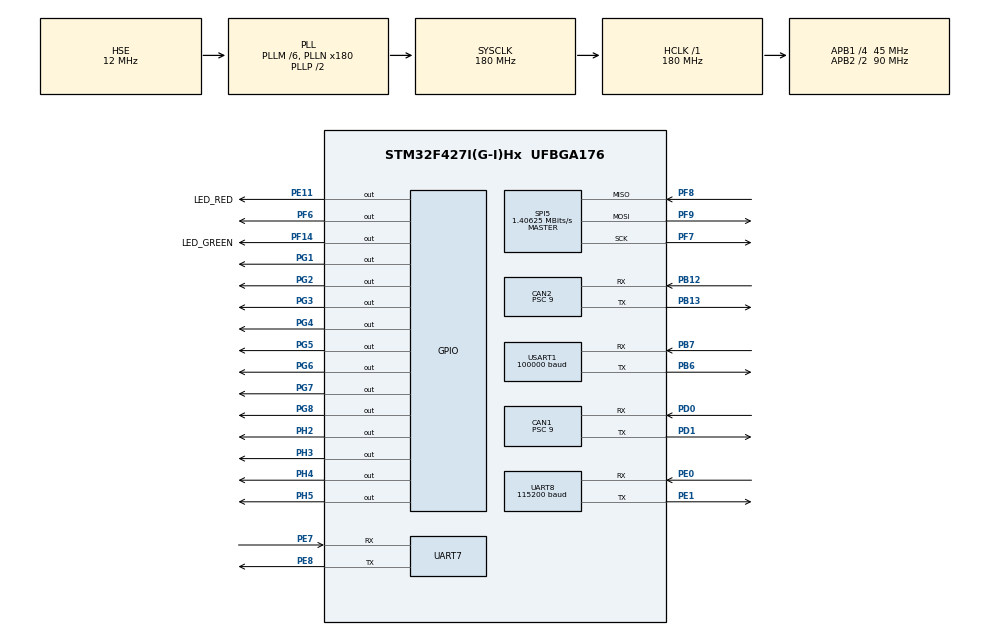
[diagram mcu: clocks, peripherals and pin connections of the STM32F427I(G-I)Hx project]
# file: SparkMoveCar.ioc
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CAN1.ABOM=ENABLE
CAN1.BS1=CAN_BS1_2TQ
CAN1.BS2=CAN_BS2_2TQ
CAN1.CalculateBaudRate=1000000
CAN1.CalculateTimeBit=1000
CAN1.CalculateTimeQuantum=200.0
CAN1.Mode=CAN_MODE_NORMAL
CAN1.NART=DISABLE
CAN1.Prescaler=9
CAN2.ABOM=ENABLE
CAN2.BS1=CAN_BS1_2TQ
CAN2.BS2=CAN_BS2_2TQ
CAN2.CalculateBaudRate=1000000
CAN2.CalculateTimeBit=1000
CAN2.CalculateTimeQuantum=200.0
CAN2.Prescaler=9
Dma.Request0=UART8_RX
Dma.Request1=UART8_TX
Dma.Request2=USART1_RX
Dma.Request3=USART1_TX
Dma.Request4=UART7_RX
Dma.Request5=UART7_TX
Dma.UART7_RX.4.Direction=DMA_PERIPH_TO_MEMORY
Dma.UART7_RX.4.FIFOMode=DMA_FIFOMODE_DISABLE
Dma.UART7_RX.4.Instance=DMA1_Stream3
Dma.UART7_RX.4.MemDataAlignment=DMA_MDATAALIGN_BYTE
Dma.UART7_RX.4.MemInc=DMA_MINC_ENABLE
Dma.UART7_RX.4.Mode=DMA_NORMAL
Dma.UART7_RX.4.PeriphDataAlignment=DMA_PDATAALIGN_BYTE
Dma.UART7_RX.4.PeriphInc=DMA_PINC_DISABLE
Dma.UART7_RX.4.Priority=DMA_PRIORITY_LOW
Dma.UART7_TX.5.Direction=DMA_MEMORY_TO_PERIPH
Dma.UART7_TX.5.FIFOMode=DMA_FIFOMODE_DISABLE
Dma.UART7_TX.5.Instance=DMA1_Stream1
Dma.UART7_TX.5.MemDataAlignment=DMA_MDATAALIGN_BYTE
Dma.UART7_TX.5.MemInc=DMA_MINC_ENABLE
Dma.UART7_TX.5.Mode=DMA_NORMAL
Dma.UART7_TX.5.PeriphDataAlignment=DMA_PDATAALIGN_BYTE
Dma.UART7_TX.5.PeriphInc=DMA_PINC_DISABLE
Dma.UART7_TX.5.Priority=DMA_PRIORITY_LOW
Dma.UART8_RX.0.Direction=DMA_PERIPH_TO_MEMORY
Dma.UART8_RX.0.FIFOMode=DMA_FIFOMODE_DISABLE
Dma.UART8_RX.0.Instance=DMA1_Stream6
Dma.UART8_RX.0.MemDataAlignment=DMA_MDATAALIGN_BYTE
Dma.UART8_RX.0.MemInc=DMA_MINC_ENABLE
Dma.UART8_RX.0.Mode=DMA_NORMAL
Dma.UART8_RX.0.PeriphDataAlignment=DMA_PDATAALIGN_BYTE
Dma.UART8_RX.0.PeriphInc=DMA_PINC_DISABLE
Dma.UART8_RX.0.Priority=DMA_PRIORITY_LOW
Dma.UART8_TX.1.Direction=DMA_MEMORY_TO_PERIPH
Dma.UART8_TX.1.FIFOMode=DMA_FIFOMODE_DISABLE
Dma.UART8_TX.1.Instance=DMA1_Stream0
Dma.UART8_TX.1.MemDataAlignment=DMA_MDATAALIGN_BYTE
Dma.UART8_TX.1.MemInc=DMA_MINC_ENABLE
Dma.UART8_TX.1.Mode=DMA_NORMAL
Dma.UART8_TX.1.PeriphDataAlignment=DMA_PDATAALIGN_BYTE
Dma.UART8_TX.1.PeriphInc=DMA_PINC_DISABLE
Dma.UART8_TX.1.Priority=DMA_PRIORITY_LOW
Dma.USART1_RX.2.Direction=DMA_PERIPH_TO_MEMORY
Dma.USART1_RX.2.FIFOMode=DMA_FIFOMODE_DISABLE
Dma.USART1_RX.2.Instance=DMA2_Stream2
Dma.USART1_RX.2.MemDataAlignment=DMA_MDATAALIGN_BYTE
Dma.USART1_RX.2.MemInc=DMA_MINC_ENABLE
Dma.USART1_RX.2.Mode=DMA_CIRCULAR
Dma.USART1_RX.2.PeriphDataAlignment=DMA_PDATAALIGN_BYTE
Dma.USART1_RX.2.PeriphInc=DMA_PINC_DISABLE
Dma.USART1_RX.2.Priority=DMA_PRIORITY_LOW
Dma.USART1_TX.3.Direction=DMA_MEMORY_TO_PERIPH
Dma.USART1_TX.3.FIFOMode=DMA_FIFOMODE_DISABLE
Dma.USART1_TX.3.Instance=DMA2_Stream7
Dma.USART1_TX.3.MemDataAlignment=DMA_MDATAALIGN_BYTE
Dma.USART1_TX.3.MemInc=DMA_MINC_ENABLE
Dma.USART1_TX.3.Mode=DMA_NORMAL
Dma.USART1_TX.3.PeriphDataAlignment=DMA_PDATAALIGN_BYTE
Dma.USART1_TX.3.PeriphInc=DMA_PINC_DISABLE
Dma.USART1_TX.3.Priority=DMA_PRIORITY_LOW
Mcu.Family=STM32F4
Mcu.Name=STM32F427I(G-I)Hx
Mcu.Package=UFBGA176
NVIC.CAN1_RX0_IRQn=true\:0\:0\:false\:false\:true\:false\:true\:true\:true
NVIC.CAN1_RX1_IRQn=true\:0\:0\:false\:false\:true\:false\:true\:true\:true
NVIC.CAN2_RX0_IRQn=true\:0\:0\:false\:false\:true\:false\:true\:true\:true
NVIC.CAN2_RX1_IRQn=true\:0\:0\:false\:false\:true\:false\:true\:true\:true
NVIC.DMA1_Stream0_IRQn=true\:0\:0\:false\:false\:true\:true\:false\:true\:true
NVIC.DMA1_Stream1_IRQn=true\:0\:0\:false\:false\:true\:true\:false\:true\:true
NVIC.DMA1_Stream3_IRQn=true\:0\:0\:false\:false\:true\:true\:false\:true\:true
NVIC.DMA1_Stream6_IRQn=true\:0\:0\:false\:false\:true\:true\:false\:true\:true
NVIC.DMA2_Stream2_IRQn=true\:0\:0\:false\:false\:true\:true\:false\:true\:true
NVIC.DMA2_Stream7_IRQn=true\:0\:0\:false\:false\:true\:true\:false\:true\:true
NVIC.PriorityGroup=NVIC_PRIORITYGROUP_4
NVIC.TIM1_UP_TIM10_IRQn=true\:15\:0\:false\:false\:true\:false\:false\:true\:true
NVIC.TimeBase=TIM1_UP_TIM10_IRQn
NVIC.TimeBaseIP=TIM1
NVIC.UART7_IRQn=true\:0\:0\:false\:false\:true\:false\:true\:true\:true
NVIC.UART8_IRQn=true\:0\:0\:false\:false\:true\:false\:true\:true\:true
NVIC.USART1_IRQn=true\:0\:0\:false\:false\:true\:false\:true\:true\:true
PA13.Mode=Serial_Wire
PA13.Signal=SYS_JTMS-SWDIO
PA14.Mode=Serial_Wire
PA14.Signal=SYS_JTCK-SWCLK
PB12.Mode=CAN_Activate
PB12.Signal=CAN2_RX
PB13.Mode=CAN_Activate
PB13.Signal=CAN2_TX
PB6.Mode=Asynchronous
PB6.Signal=USART1_TX
PB7.Mode=Asynchronous
PB7.Signal=USART1_RX
PD0.GPIO_PuPd=GPIO_NOPULL
PD0.Mode=CAN_Activate
PD0.Signal=CAN1_RX
PD1.Mode=CAN_Activate
PD1.Signal=CAN1_TX
PE0.Mode=Asynchronous
PE0.Signal=UART8_RX
PE1.Mode=Asynchronous
PE1.Signal=UART8_TX
PE11.GPIO_Label=LED_RED
PE11.PinState=GPIO_PIN_SET
PE11.Signal=GPIO_Output
PE7.Mode=Asynchronous
PE7.Signal=UART7_RX
PE8.Mode=Asynchronous
PE8.Signal=UART7_TX
PF14.GPIO_Label=LED_GREEN
PF14.PinState=GPIO_PIN_SET
PF14.Signal=GPIO_Output
PF6.Signal=GPIO_Output
PF7.Mode=Full_Duplex_Master
PF7.Signal=SPI5_SCK
PF8.Mode=Full_Duplex_Master
PF8.Signal=SPI5_MISO
PF9.Mode=Full_Duplex_Master
PF9.Signal=SPI5_MOSI
PG1.PinState=GPIO_PIN_SET
PG1.Signal=GPIO_Output
PG2.PinState=GPIO_PIN_SET
PG2.Signal=GPIO_Output
PG3.PinState=GPIO_PIN_SET
PG3.Signal=GPIO_Output
PG4.PinState=GPIO_PIN_SET
PG4.Signal=GPIO_Output
PG5.PinState=GPIO_PIN_SET
PG5.Signal=GPIO_Output
PG6.PinState=GPIO_PIN_SET
PG6.Signal=GPIO_Output
PG7.PinState=GPIO_PIN_SET
PG7.Signal=GPIO_Output
PG8.PinState=GPIO_PIN_SET
PG8.Signal=GPIO_Output
PH0/OSC_IN.Mode=HSE-External-Oscillator
PH0/OSC_IN.Signal=RCC_OSC_IN
PH1/OSC_OUT.Mode=HSE-External-Oscillator
PH1/OSC_OUT.Signal=RCC_OSC_OUT
PH2.GPIO_PuPd=GPIO_PULLUP
PH2.Signal=GPIO_Output
PH3.GPIO_PuPd=GPIO_PULLUP
PH3.Signal=GPIO_Output
PH4.GPIO_PuPd=GPIO_PULLUP
PH4.Signal=GPIO_Output
PH5.GPIO_PuPd=GPIO_PULLUP
PH5.Signal=GPIO_Output
ProjectManager.HeapSize=0x200
ProjectManager.StackSize=0x400
ProjectManager.TargetToolchain=CMake
RCC.48MHZClocksFreq_Value=90000000
RCC.AHBFreq_Value=180000000
RCC.APB1CLKDivider=RCC_HCLK_DIV4
RCC.APB1Freq_Value=45000000
RCC.APB1TimFreq_Value=90000000
RCC.APB2CLKDivider=RCC_HCLK_DIV2
RCC.APB2Freq_Value=90000000
RCC.APB2TimFreq_Value=180000000
RCC.CortexFreq_Value=180000000
RCC.HCLKFreq_Value=180000000
RCC.HSE_VALUE=12000000
RCC.HSI_VALUE=16000000
RCC.LSE_VALUE=32768
RCC.PLLM=6
RCC.PLLN=180
RCC.PLLSourceVirtual=RCC_PLLSOURCE_HSE
RCC.SYSCLKFreq_VALUE=180000000
RCC.SYSCLKSource=RCC_SYSCLKSOURCE_PLLCLK
RCC.VCOOutputFreq_Value=360000000
RealThread.RT-Thread.3.1.2.RTAaThreadCcRTOSJjdeviceOodrivers=true
RealThread.RT-Thread.3.1.2.RTAaThreadCcRTOSJjkernel=true
RealThread.RT-Thread.3.1.2.RTAaThreadCcRTOSJjshell=true
SPI5.BaudRatePrescaler=SPI_BAUDRATEPRESCALER_64
SPI5.CalculateBaudRate=1.40625 MBits/s
SPI5.Direction=SPI_DIRECTION_2LINES
SPI5.Mode=SPI_MODE_MASTER
SPI5.VirtualType=VM_MASTER
UART7.VirtualMode=Asynchronous
UART8.BaudRate=115200
UART8.VirtualMode=Asynchronous
USART1.BaudRate=100000
USART1.Parity=PARITY_EVEN
USART1.StopBits=STOPBITS_2
USART1.VirtualMode=VM_ASYNC
USART1.WordLength=WORDLENGTH_9B
VP_RealThread.RT-Thread_VS_RTOSJjRTAaThread_3.1.2.Mode=RTOSJjRTAaThread
VP_SYS_VS_tim1.Mode=TIM1
board=custom

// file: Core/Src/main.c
/* USER CODE BEGIN Header */
/**
  ******************************************************************************
  * @file           : main.c
  * @brief          : Main program body
  ******************************************************************************
  * @attention
  *
  * Copyright (c) 2026 STMicroelectronics.
  * All rights reserved.
  *
  * This software is licensed under terms that can be found in the LICENSE file
  * in the root directory of this software component.
  * If no LICENSE file comes with this software, it is provided AS-IS.
  *
  ******************************************************************************
  */
/* USER CODE END Header */
#include "main.h"
#include "can.h"
#include "dma.h"
#include "spi.h"
#include "stm32f4xx_hal.h"
#include "usart.h"
#include "gpio.h"

/* USER CODE BEGIN Includes */
#include <rtthread.h>
#include <stdint.h>
#include "fifo.h"
#include <string.h>
#include <math.h>
#include <stdio.h>

#include "usart.h"
#include "drv_can.h"
#include "drv_bsp.h"
#include "drv_uart.h"
#include "motor_dji.h"
#include "serial_plotter.h"
#include "pidcontroller.h"
#include "app_test.h"
#include "drv_math.h"
#include "dev_dm4310.h"
#include "drv_dm4310.h"
#include "drv_imu.h"
#include "QuaternionEKF.h"
#include "dev_dm_imu.h"
#include "dev_n630.h"
#include "bsp_sbus.h"
#include "chassis.h"
#include "uxrce_transport_uart.h"
#include "uxrce_app.h"
#include "chassis_control.h"
/* USER CODE END Includes */

/* USER CODE BEGIN PD */
#define RX_BUF_SIZE 2048
uint8_t USART8_Rx_buf[RX_BUF_SIZE];   // DMA Buff

#define TX_DMA_BUF_SIZE 2048
// static uint8_t tx_dma_buf[TX_DMA_BUF_SIZE];
static uint8_t uxrce_rx_dma_buf[2048];
static uint8_t debug_rx_dma_buf[2048];

/* USER CODE END PD */

/* USER CODE BEGIN PV */
fifo_s_t *uart_rx_fifo = NULL;
uint8_t rx_buffer[128];
float Now_Omega, Target_Omega = 350.0f * PI;
uint32_t Counter = 0;
uint8_t speed_state = 0;

// 实例化对象
SerialPlotter_t my_plotter;
Motor_t motor_ID1;
PID_t  pid_speed;     // 速度环
extern dm_motor_t motor[Motor_Max];
N630_Motor_t n630_motor[30] = {0};

int8_t gyro_map[3]  = {1, 2, 3};
int8_t accel_map[3] = {1, 2, 3};

// typedef union {
//     float f_data[4];      // 3个数据 + 1个包尾 = 4个float
//     uint8_t byte_data[16]; // 4 * 4 = 16 字节
// } VOFA_JustFloat_t;

// VOFA_JustFloat_t vofa_packet;
extern imu_t imu;
extern uint8_t sbus_dma_buf[25];
extern ChassisMotor_t ChassisMotor_Table[CHASSIS_MOTOR_COUNT];

// void VOFA_Init(void) {
//     vofa_packet.byte_data[48] = 0x00;
//     vofa_packet.byte_data[49] = 0x00;
//     vofa_packet.byte_data[50] = 0x80;
//     vofa_packet.byte_data[51] = 0x7F;
// }
/**
 * @brief 串口 DMA 循环绕回处理核心算法 (类的方法)
 * @param obj 串口管理对象指针
 * @param Size DMA 当前写到的位置 (HAL库传入)
 */
void UART8_Trigger_Tx_DMA(void)
{
//     App_Test_Trigger_UART_DMA(&huart8, uart_rx_fifo, tx_dma_buf, TX_DMA_BUF_SIZE);
 }

void Serialplot_Call_Back(uint8_t *Buffer, uint16_t Length)
{
     for (uint16_t i = 0; i < Length; i++) {
        SBUS_Receive(Buffer[i]);
    }

    SBUS_Handle();
}

void SerialDebug_Call_Back(uint8_t *Buffer, uint16_t Length)
{
   // ...
}

void Serialplot8_Call_Back(uint8_t *Buffer, uint16_t Length)
{
    // App_Test_Parse_Command(Buffer, Length);
}

 /* ---------------------------------------CAN Callback Configuration--------------------------------------------------------*/
/**
 * @brief  滤波器在CAN总线上获取到目标ID触发中断
 * @param  hcan CAN编号
 * @param  header  Rx接收头
 * @param  HAL_CAN_GetRxMessage HAL库内部函数-从FIFO中获取数据帧
 * @retval None
 */
void Motor_Cmd_TxCallback(Struct_CAN_Rx_Buffer *Rx_Buffer) {
  ChassisMotor_CANRxDispatch(Rx_Buffer);
}

void DMotor_Cmd_TxCallback(Struct_CAN_Rx_Buffer *Rx_Buffer) {
  // 解析 DM-J4310 的反馈
  ChassisMotor_CANRxDispatch(Rx_Buffer);
}

void UART8_Send_To_Plotter_DMA(uint8_t *data, uint16_t len) {
    // 调用 HAL 库的 DMA 发送函数
    // UART_Send_Data(&huart8, data, len);
}

/* USER CODE END PV */

void SystemClock_Config(void);

/* USER CODE BEGIN 0 */

// sbus解析线程
static void sbus_thread_entry(void *parameter)
{
    (void)parameter;

    while (1) {
        if (SBUS_HasNewFrame()) {
            ChassisControl_Update();
            SBUS_ClearNewFrame();
        }

        rt_thread_mdelay(5); // 200hz
    }
}
// CAN2 发送线程
static void can2_dm_thread_entry(void *parameter)
{
    (void)parameter;

    while (1) {
        ChassisMotor_SendDmSteerTarget();
        rt_thread_mdelay(10); // 100hz
    }
}

// motor control thread
static void motor_pid_thread_entry(void *parameter)
{
    (void)parameter;

    while (1) {
        ChassisMotor_ControlLoop_UpdateOnly();
        rt_thread_mdelay(10); // 100hz
    }
}

// can1 send thread
static void can1_vesc_thread_entry(void *parameter)
{
    (void)parameter;

    while (1) {
        ChassisMotor_SendCurrent_VESC();
        rt_thread_mdelay(10); // 100hz
    }
}

// dds communication thread
static void xrce_thread_entry(void *parameter)
{
    (void)parameter;

    uxrce_app_init();

    while (1) {
        uxrce_app_loop();
        rt_thread_mdelay(20); // 50hz
    }
}

 /* ---------------------------------------CAN Callback Configuration--------------------------------------------------------*/
/**
 * @brief  multi thread initialiation and startup
 * @param  rt_thread_create(const char *name,        // 线程名称 (调试和诊断时在终端里看到的名字)
                 void (*entry)(void *),   // 线程入口函数 (线程实际执行的 while(1) 代码块)
                 void *parameter,         // 传递给入口函数的参数 (这里全是 RT_NULL，即不传参)
                 rt_uint32_t stack_size,  // 线程栈大小 (单位: Byte。决定了该线程能嵌套调用多深的函数和定义多少局部变量)
                 rt_uint8_t priority,     // 线程优先级 (数字越小，优先级越高！)
                 rt_uint32_t tick)        // 时间片大小 (当有同等优先级的线程时，轮转执行的时间分配)
 * @retval None
 */

// multi thread initialiation and startup
static void SparkThreads_Start(void)
{
    rt_thread_t tid;

    tid = rt_thread_create("sbus", sbus_thread_entry, RT_NULL, 1024, 6, 5);
    if (tid != RT_NULL) {
        rt_thread_startup(tid);
    }

    tid = rt_thread_create("dm", can2_dm_thread_entry, RT_NULL, 1024, 7, 5);
    if (tid != RT_NULL) {
        rt_thread_startup(tid);
    }

    tid = rt_thread_create("motor", motor_pid_thread_entry, RT_NULL, 1024, 10, 5);
    if (tid != RT_NULL) {
        rt_thread_startup(tid);
    }

    tid = rt_thread_create("vesc", can1_vesc_thread_entry, RT_NULL, 4096, 12, 5);
    if (tid != RT_NULL) {
        rt_thread_startup(tid);
    }

    tid = rt_thread_create("dds", xrce_thread_entry, RT_NULL, 4096, 18, 10);
    if (tid != RT_NULL) {
        rt_thread_startup(tid);
    }
}

/* USER CODE END 0 */

int main(void)
{

  /* MCU Configuration--------------------------------------------------------*/

  /* Reset of all peripherals, Initializes the Flash interface and the Systick. */
  HAL_Init();

  /* Configure the system clock */
  SystemClock_Config();

  /* Initialize all configured peripherals */
  MX_GPIO_Init();
  MX_DMA_Init();
  MX_UART8_Init();
  MX_CAN1_Init();
  MX_CAN2_Init();
  MX_SPI5_Init();
  MX_USART1_UART_Init();
  MX_UART7_Init();
  /* USER CODE BEGIN 2 */

  BSP_Init(BSP_DC_LU_ON | BSP_DC_LD_ON | BSP_DC_RU_ON | BSP_DC_RD_ON | BSP_LED_GREEN_ON, 0, 0);

  Uart_Init(&huart1, sbus_dma_buf, 25, Serialplot_Call_Back);
  // Uart_Init(&huart8, rx_buffer, RX_BUF_SIZE, Serialplot8_Call_Back);

  Uart_Init(&huart8, uxrce_rx_dma_buf, sizeof(uxrce_rx_dma_buf), uxrDds_UartRxCallback);

  Uart_Init(&huart7, debug_rx_dma_buf, sizeof(debug_rx_dma_buf), SerialDebug_Call_Back);

  // PID_Init(&pid_speed, 0.0f, 0.0f, 0.0f, 0.0f,2500.0f, 2500.0f);

  // uart_rx_fifo = fifo_s_create(2048);
  // HAL_UARTEx_ReceiveToIdle_DMA(&huart8, USART8_Rx_buf, RX_BUF_SIZE);

  // Plotter_Init(&my_plotter, rx_buffer, 0xAA, UART8_Send_To_Plotter_DMA);

  CAN_Filter_Mask_Config(&hcan1, CAN_FILTER(0) | CAN_FIFO_0 | CAN_STDID | CAN_DATA_TYPE, 0, 0);
  CAN_Filter_Ext_Mask_Config(&hcan1, 1, 0, 0, CAN_FILTER_FIFO1);
  CAN_Init(&hcan1, Motor_Cmd_TxCallback);

  CAN_Filter_Mask_Config(&hcan2, CAN_FILTER(27) | CAN_FIFO_0 | CAN_STDID | CAN_DATA_TYPE, 0, 0);
  CAN_Filter_Ext_Mask_Config(&hcan2, 26, 0, 0, CAN_FILTER_FIFO1);
  CAN_Init(&hcan2, DMotor_Cmd_TxCallback);

  dm4310_motor_init(&hcan2, &motor[Motor1], MOTOR_LEFT_CANID, 1);
  dm4310_motor_init(&hcan2, &motor[Motor2], MOTOR_RIGHT_CANID, 1);
  ctrl_enable(Motor_ALL_Status_ENABLED);
  HAL_Delay(100);
  // save_pos_zero(&hcan2, MOTOR_LEFT_CANID, POS_MODE);
  // save_pos_zero(&hcan2, MOTOR_RIGHT_CANID, POS_MODE);
  // HAL_Delay(500);

  // VOFA_Init();
  ChassisMotor_InitAll();
  SparkThreads_Start();

  // imu_init(0x22, 0x23, &hcan1);

  // imu_change_to_active();
  // imu_save_parameters();

  // imu_change_to_active();
  /* 创建并启动电机控制线程 (优先级 15) */
  // rt_thread_t motor_tid = rt_thread_create("motor", motor_thread_entry, RT_NULL, 1024, 15, 10);
  // rt_thread_startup(motor_tid);

  // IMU_QuaternionEKF_Init(10.0f, 0.001f, 1.0e7f, 1.0f, 0.01f);
  // IMU_QuaternionEKF_Set_MPU6500_Config(16.384f, 4096.0f, 9.80665f, gyro_map, accel_map);
  /* USER CODE END 2 */

  /* Infinite loop */
  while (1) {

    /* USER CODE BEGIN 3 */

    /* USER CODE END WHILE */

    /* USER CODE BEGIN 3 */

    // Plotter_Append(&my_plotter, motor_ID1.rx_angle);
    // Plotter_Append(&my_plotter, Target_Omega);
    // Plotter_Append(&my_plotter, current_speed_float);
    // Plotter_Append(&my_plotter, pid_speed.Kp);
    // Plotter_Append(&my_plotter, motor_ID1.rx_torque);
    // Plotter_Append(&my_plotter, motor_ID1.rx_temperature);

    // mpu_get_data();
    // HAL_UART_Transmit_DMA(&huart8, (const uint8_t *)&imu, sizeof(imu_t));

    // rt_thread_mdelay(20);

    // float dt = 0.001f;
    // mpu_get_data();

    //     IMU_QuaternionEKF_Update_MPU6500_Raw(
    //         mpu_data.gx, mpu_data.gy, mpu_data.gz,
    //         mpu_data.ax, mpu_data.ay, mpu_data.az,
    //         dt
    //     );
    // HAL_Delay(10);

    // float rpm = n630_motor[21].rpm;
    // HAL_UART_Transmit_DMA(&huart8, (const uint8_t *)&rpm, sizeof(float));
    // comm_can_set_rpm(21, 8000.0f);
    // comm_can_set_rpm(22, 8000.0f);
    // comm_can_set_rpm(25, 8000.0f);
    // comm_can_set_rpm(&hcan1, 26, 4000.0f);

    rt_thread_mdelay(1000);

    // if (SBUS_HasNewFrame()) {
    //   uint16_t sbus_channels[CHASSIS_SBUS_CH_COUNT] = {0};

    //   if (SBUS_GetChannels(sbus_channels, CHASSIS_SBUS_CH_COUNT)) {
    //     ChassisMotor_UpdateFromSbusChannels(sbus_channels);
    //   }
    //   SBUS_ClearNewFrame();
    // }

    // uxrce_app_loop();

    // pos_speed_ctrl(&hcan2, MOTOR_LEFT_CANID, 0.0f, 1.0f);
    // pos_speed_ctrl(&hcan2, MOTOR_RIGHT_CANID, 0.0f, 1.0f);

    // Plotter_Begin(&my_plotter);
    // Plotter_Append(&my_plotter, ChassisMotor_Table[0].target_wheel_rpm);
    // Plotter_Append(&my_plotter, ChassisMotor_Table[0].feedback_wheel_rpm);
    // Plotter_Append(&my_plotter, ChassisMotor_Table[0].current_cmd);

    // Plotter_Append(&my_plotter, ChassisMotor_Table[1].target_wheel_rpm);
    // Plotter_Append(&my_plotter, ChassisMotor_Table[1].feedback_wheel_rpm);
    // Plotter_Append(&my_plotter, ChassisMotor_Table[1].current_cmd);

    // Plotter_Append(&my_plotter, ChassisMotor_Table[2].target_wheel_rpm);
    // Plotter_Append(&my_plotter, ChassisMotor_Table[2].feedback_wheel_rpm);
    // Plotter_Append(&my_plotter, ChassisMotor_Table[2].current_cmd);

    // Plotter_Append(&my_plotter, ChassisMotor_Table[3].target_wheel_rpm);
    // Plotter_Append(&my_plotter, ChassisMotor_Table[3].feedback_wheel_rpm);
    // Plotter_Append(&my_plotter, ChassisMotor_Table[3].current_cmd);

    // Plotter_Append(&my_plotter, ChassisMotor_Table[4].target_wheel_rpm);
    // Plotter_Append(&my_plotter, ChassisMotor_Table[4].feedback_wheel_rpm);
    // Plotter_Append(&my_plotter, ChassisMotor_Table[4].current_cmd);

    // Plotter_Append(&my_plotter, ChassisMotor_Table[5].target_wheel_rpm);
    // Plotter_Append(&my_plotter, ChassisMotor_Table[5].feedback_wheel_rpm);
    // Plotter_Append(&my_plotter, ChassisMotor_Table[5].current_cmd);
    // static uint32_t counter = 0;
    // if(counter++ % 500 == 0) {
    //      char msg[256];
    //     // 发送SBUS数据到串口，方便调试和监控  Send SBUS data to the serial port for debugging and monitoring
    //     // 这里是CH1~CH8的数据，便于调试添加命名
    //     int len = snprintf(msg, sizeof(msg),
    //                "1_T:%ld 1_R:%ld 1_C:%ld\r\n 2_T:%ld 2_R:%ld 2_C:%ld\r\n 3_T:%ld 3_R:%ld 3_C:%ld\r\n 4_T:%ld 4_R:%ld 4_C:%ld\r\n 5_T:%ld 5_R:%ld 5_C:%ld\r\n 6_T:%ld 6_R:%ld 6_C:%ld\r\n",
    //                (long)ChassisMotor_Table[0].target_wheel_rpm, (long)ChassisMotor_Table[0].feedback_wheel_rpm, (long)ChassisMotor_Table[0].current_cmd,
    //                (long)ChassisMotor_Table[1].target_wheel_rpm, (long)ChassisMotor_Table[1].feedback_wheel_rpm, (long)ChassisMotor_Table[1].current_cmd,
    //                (long)ChassisMotor_Table[2].target_wheel_rpm, (long)ChassisMotor_Table[2].feedback_wheel_rpm, (long)ChassisMotor_Table[2].current_cmd,
    //                (long)ChassisMotor_Table[3].target_wheel_rpm, (long)ChassisMotor_Table[3].feedback_wheel_rpm, (long)ChassisMotor_Table[3].current_cmd,
    //                (long)ChassisMotor_Table[4].target_wheel_rpm, (long)ChassisMotor_Table[4].feedback_wheel_rpm, (long)ChassisMotor_Table[4].current_cmd,
    //                (long)ChassisMotor_Table[5].target_wheel_rpm, (long)ChassisMotor_Table[5].feedback_wheel_rpm, (long)ChassisMotor_Table[5].current_cmd);

    //     UART_Send_Data(&huart8, (uint8_t *)msg, len);
    //     counter = 0;
    // }

    // Plotter_SendData(&my_plotter);

  }
  /* USER CODE END 3 */
}

void SystemClock_Config(void)
{
  RCC_OscInitTypeDef RCC_OscInitStruct = {0};
  RCC_ClkInitTypeDef RCC_ClkInitStruct = {0};

  /** Configure the main internal regulator output voltage
  */
  __HAL_RCC_PWR_CLK_ENABLE();
  __HAL_PWR_VOLTAGESCALING_CONFIG(PWR_REGULATOR_VOLTAGE_SCALE1);

  /** Initializes the RCC Oscillators according to the specified parameters
  * in the RCC_OscInitTypeDef structure.
  */
  RCC_OscInitStruct.OscillatorType = RCC_OSCILLATORTYPE_HSE;
  RCC_OscInitStruct.HSEState = RCC_HSE_ON;
  RCC_OscInitStruct.PLL.PLLState = RCC_PLL_ON;
  RCC_OscInitStruct.PLL.PLLSource = RCC_PLLSOURCE_HSE;
  RCC_OscInitStruct.PLL.PLLM = 6;
  RCC_OscInitStruct.PLL.PLLN = 180;
  RCC_OscInitStruct.PLL.PLLP = RCC_PLLP_DIV2;
  RCC_OscInitStruct.PLL.PLLQ = 4;
  if (HAL_RCC_OscConfig(&RCC_OscInitStruct) != HAL_OK)
  {
    Error_Handler();
  }

  /** Activate the Over-Drive mode
  */
  if (HAL_PWREx_EnableOverDrive() != HAL_OK)
  {
    Error_Handler();
  }

  /** Initializes the CPU, AHB and APB buses clocks
  */
  RCC_ClkInitStruct.ClockType = RCC_CLOCKTYPE_HCLK|RCC_CLOCKTYPE_SYSCLK
                              |RCC_CLOCKTYPE_PCLK1|RCC_CLOCKTYPE_PCLK2;
  RCC_ClkInitStruct.SYSCLKSource = RCC_SYSCLKSOURCE_PLLCLK;
  RCC_ClkInitStruct.AHBCLKDivider = RCC_SYSCLK_DIV1;
  RCC_ClkInitStruct.APB1CLKDivider = RCC_HCLK_DIV4;
  RCC_ClkInitStruct.APB2CLKDivider = RCC_HCLK_DIV2;

  if (HAL_RCC_ClockConfig(&RCC_ClkInitStruct, FLASH_LATENCY_5) != HAL_OK)
  {
    Error_Handler();
  }
}

void HAL_TIM_PeriodElapsedCallback(TIM_HandleTypeDef *htim)
{
  if (htim->Instance == TIM1)
  {
    HAL_IncTick();
  }
}

void Error_Handler(void)
{
  __disable_irq();
  while (1)
  {
  }
}
